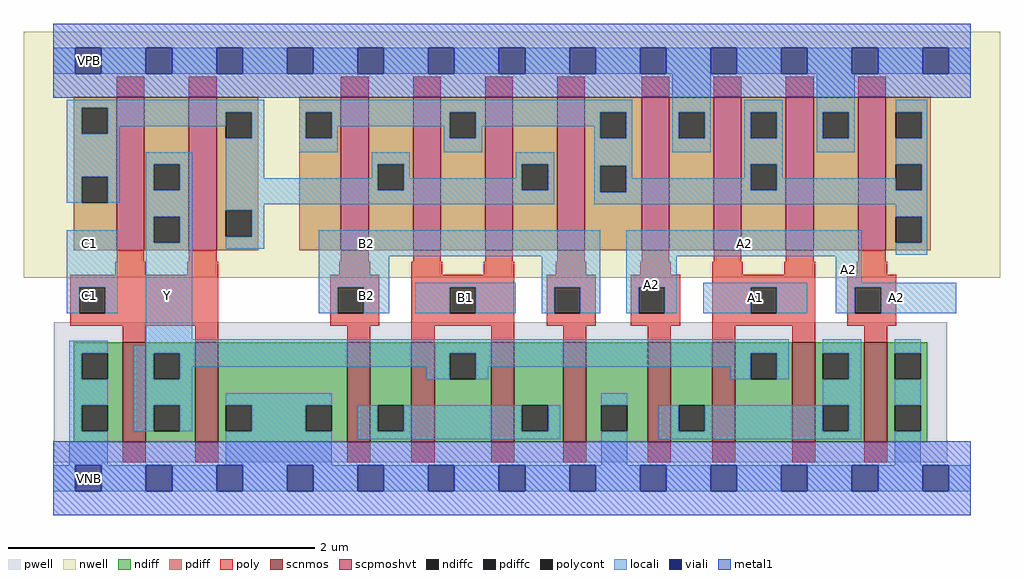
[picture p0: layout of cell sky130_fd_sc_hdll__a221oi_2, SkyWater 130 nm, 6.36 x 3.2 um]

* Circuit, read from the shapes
.subckt sky130_fd_sc_hdll__a221oi_2 A1 A2 B1 B2 C1 VGND VNB VPB VPWR Y
XM1 Y C1 VGND VNB sky130_fd_pr__nfet_01v8 w=0.65 l=0.15 m=2
XM2 n1 B2 VGND VNB sky130_fd_pr__nfet_01v8 w=0.65 l=0.15 m=2
XM3 Y B1 n1 VNB sky130_fd_pr__nfet_01v8 w=0.65 l=0.15 m=2
XM4 n2 A2 VGND VNB sky130_fd_pr__nfet_01v8 w=0.65 l=0.15 m=2
XM5 Y A1 n2 VNB sky130_fd_pr__nfet_01v8 w=0.65 l=0.15 m=2
XM6 Y C1 n3 VPB sky130_fd_pr__pfet_01v8_hvt w=1 l=0.18 m=2
XM7 n3 B2 n4 VPB sky130_fd_pr__pfet_01v8_hvt w=1 l=0.18 m=2
XM8 n4 B1 n3 VPB sky130_fd_pr__pfet_01v8_hvt w=1 l=0.18 m=2
XM9 VPWR A2 n4 VPB sky130_fd_pr__pfet_01v8_hvt w=1 l=0.18 m=2
XM10 n4 A1 VPWR VPB sky130_fd_pr__pfet_01v8_hvt w=1 l=0.18 m=2
.ends

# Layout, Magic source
magic
tech sky130A
magscale 1 2
<< nwell >>
rect -38 261 1234 582
<< pwell >>
rect 1 21 1165 203
rect 30 -17 64 21
<< scnmos >>
rect 91 47 121 177
rect 185 47 215 177
rect 383 47 413 177
rect 467 47 497 177
rect 571 47 601 177
rect 665 47 695 177
rect 775 47 805 177
rect 859 47 889 177
rect 963 47 993 177
rect 1057 47 1087 177
<< scpmoshvt >>
rect 83 297 119 497
rect 177 297 213 497
rect 375 297 411 497
rect 469 297 505 497
rect 563 297 599 497
rect 657 297 693 497
rect 767 297 803 497
rect 861 297 897 497
rect 955 297 991 497
rect 1049 297 1085 497
<< ndiff >>
rect 27 163 91 177
rect 27 129 37 163
rect 71 129 91 163
rect 27 95 91 129
rect 27 61 37 95
rect 71 61 91 95
rect 27 47 91 61
rect 121 163 185 177
rect 121 129 131 163
rect 165 129 185 163
rect 121 95 185 129
rect 121 61 131 95
rect 165 61 185 95
rect 121 47 185 61
rect 215 95 383 177
rect 215 61 225 95
rect 259 61 329 95
rect 363 61 383 95
rect 215 47 383 61
rect 413 95 467 177
rect 413 61 423 95
rect 457 61 467 95
rect 413 47 467 61
rect 497 163 571 177
rect 497 129 517 163
rect 551 129 571 163
rect 497 47 571 129
rect 601 95 665 177
rect 601 61 611 95
rect 645 61 665 95
rect 601 47 665 61
rect 695 95 775 177
rect 695 61 714 95
rect 748 61 775 95
rect 695 47 775 61
rect 805 95 859 177
rect 805 61 815 95
rect 849 61 859 95
rect 805 47 859 61
rect 889 163 963 177
rect 889 129 909 163
rect 943 129 963 163
rect 889 47 963 129
rect 993 163 1057 177
rect 993 129 1003 163
rect 1037 129 1057 163
rect 993 95 1057 129
rect 993 61 1003 95
rect 1037 61 1057 95
rect 993 47 1057 61
rect 1087 163 1139 177
rect 1087 129 1097 163
rect 1131 129 1139 163
rect 1087 95 1139 129
rect 1087 61 1097 95
rect 1131 61 1139 95
rect 1087 47 1139 61
<< pdiff >>
rect 27 483 83 497
rect 27 449 37 483
rect 71 449 83 483
rect 27 393 83 449
rect 27 359 37 393
rect 71 359 83 393
rect 27 297 83 359
rect 119 409 177 497
rect 119 375 131 409
rect 165 375 177 409
rect 119 341 177 375
rect 119 307 131 341
rect 165 307 177 341
rect 119 297 177 307
rect 213 477 267 497
rect 213 443 225 477
rect 259 443 267 477
rect 213 349 267 443
rect 213 315 225 349
rect 259 315 267 349
rect 213 297 267 315
rect 321 477 375 497
rect 321 443 329 477
rect 363 443 375 477
rect 321 297 375 443
rect 411 409 469 497
rect 411 375 423 409
rect 457 375 469 409
rect 411 297 469 375
rect 505 477 563 497
rect 505 443 517 477
rect 551 443 563 477
rect 505 297 563 443
rect 599 409 657 497
rect 599 375 611 409
rect 645 375 657 409
rect 599 297 657 375
rect 693 477 767 497
rect 693 443 713 477
rect 747 443 767 477
rect 693 407 767 443
rect 693 373 713 407
rect 747 373 767 407
rect 693 297 767 373
rect 803 477 861 497
rect 803 443 815 477
rect 849 443 861 477
rect 803 297 861 443
rect 897 477 955 497
rect 897 443 909 477
rect 943 443 955 477
rect 897 409 955 443
rect 897 375 909 409
rect 943 375 955 409
rect 897 297 955 375
rect 991 477 1049 497
rect 991 443 1003 477
rect 1037 443 1049 477
rect 991 297 1049 443
rect 1085 477 1144 497
rect 1085 443 1098 477
rect 1132 443 1144 477
rect 1085 409 1144 443
rect 1085 375 1098 409
rect 1132 375 1144 409
rect 1085 341 1144 375
rect 1085 307 1098 341
rect 1132 307 1144 341
rect 1085 297 1144 307
<< ndiffc >>
rect 37 129 71 163
rect 37 61 71 95
rect 131 129 165 163
rect 131 61 165 95
rect 225 61 259 95
rect 329 61 363 95
rect 423 61 457 95
rect 517 129 551 163
rect 611 61 645 95
rect 714 61 748 95
rect 815 61 849 95
rect 909 129 943 163
rect 1003 129 1037 163
rect 1003 61 1037 95
rect 1097 129 1131 163
rect 1097 61 1131 95
<< pdiffc >>
rect 37 449 71 483
rect 37 359 71 393
rect 131 375 165 409
rect 131 307 165 341
rect 225 443 259 477
rect 225 315 259 349
rect 329 443 363 477
rect 423 375 457 409
rect 517 443 551 477
rect 611 375 645 409
rect 713 443 747 477
rect 713 373 747 407
rect 815 443 849 477
rect 909 443 943 477
rect 909 375 943 409
rect 1003 443 1037 477
rect 1098 443 1132 477
rect 1098 375 1132 409
rect 1098 307 1132 341
<< poly >>
rect 83 497 119 523
rect 177 497 213 523
rect 375 497 411 523
rect 469 497 505 523
rect 563 497 599 523
rect 657 497 693 523
rect 767 497 803 523
rect 861 497 897 523
rect 955 497 991 523
rect 1049 497 1085 523
rect 83 282 119 297
rect 177 282 213 297
rect 375 282 411 297
rect 469 282 505 297
rect 563 282 599 297
rect 657 282 693 297
rect 767 282 803 297
rect 861 282 897 297
rect 955 282 991 297
rect 1049 282 1085 297
rect 81 265 121 282
rect 175 265 215 282
rect 373 265 413 282
rect 467 265 507 282
rect 561 265 601 282
rect 655 265 695 282
rect 765 265 805 282
rect 859 265 899 282
rect 953 265 993 282
rect 1047 265 1087 282
rect 22 249 215 265
rect 22 215 34 249
rect 68 215 215 249
rect 22 199 215 215
rect 361 249 425 265
rect 361 215 371 249
rect 405 215 425 249
rect 361 199 425 215
rect 467 249 601 265
rect 467 215 517 249
rect 551 215 601 249
rect 467 199 601 215
rect 643 249 707 265
rect 643 215 653 249
rect 687 215 707 249
rect 643 199 707 215
rect 753 249 817 265
rect 753 215 763 249
rect 797 215 817 249
rect 753 199 817 215
rect 859 249 993 265
rect 859 215 909 249
rect 943 215 993 249
rect 859 199 993 215
rect 1035 249 1099 265
rect 1035 215 1045 249
rect 1079 215 1099 249
rect 1035 199 1099 215
rect 91 177 121 199
rect 185 177 215 199
rect 383 177 413 199
rect 467 177 497 199
rect 571 177 601 199
rect 665 177 695 199
rect 775 177 805 199
rect 859 177 889 199
rect 963 177 993 199
rect 1057 177 1087 199
rect 91 21 121 47
rect 185 21 215 47
rect 383 21 413 47
rect 467 21 497 47
rect 571 21 601 47
rect 665 21 695 47
rect 775 21 805 47
rect 859 21 889 47
rect 963 21 993 47
rect 1057 21 1087 47
<< polycont >>
rect 34 215 68 249
rect 371 215 405 249
rect 517 215 551 249
rect 653 215 687 249
rect 763 215 797 249
rect 909 215 943 249
rect 1045 215 1079 249
<< locali >>
rect 0 527 29 561
rect 63 527 121 561
rect 155 527 213 561
rect 247 527 305 561
rect 339 527 397 561
rect 431 527 489 561
rect 523 527 581 561
rect 615 527 673 561
rect 707 527 765 561
rect 799 527 857 561
rect 891 527 949 561
rect 983 527 1041 561
rect 1075 527 1133 561
rect 1167 527 1196 561
rect 18 483 275 493
rect 18 449 37 483
rect 71 477 275 483
rect 71 459 225 477
rect 71 449 87 459
rect 18 393 87 449
rect 259 443 275 477
rect 18 359 37 393
rect 71 359 87 393
rect 121 409 181 425
rect 121 375 131 409
rect 165 375 181 409
rect 121 341 181 375
rect 18 249 84 323
rect 18 215 34 249
rect 68 215 84 249
rect 121 307 131 341
rect 165 307 181 341
rect 121 181 181 307
rect 225 391 275 443
rect 321 477 755 493
rect 321 443 329 477
rect 363 459 517 477
rect 363 443 371 459
rect 321 425 371 443
rect 509 443 517 459
rect 551 459 713 477
rect 551 443 559 459
rect 509 425 559 443
rect 705 443 713 459
rect 747 443 755 477
rect 415 409 465 425
rect 415 391 423 409
rect 225 375 423 391
rect 457 391 465 409
rect 603 409 653 425
rect 603 391 611 409
rect 457 375 611 391
rect 645 375 653 409
rect 225 357 653 375
rect 705 407 755 443
rect 807 477 857 527
rect 807 443 815 477
rect 849 443 857 477
rect 807 425 857 443
rect 901 477 951 493
rect 901 443 909 477
rect 943 443 951 477
rect 705 373 713 407
rect 747 391 755 407
rect 901 409 951 443
rect 995 477 1045 527
rect 995 443 1003 477
rect 1037 443 1045 477
rect 995 425 1045 443
rect 1098 477 1139 493
rect 1132 443 1139 477
rect 901 391 909 409
rect 747 375 909 391
rect 943 391 951 409
rect 1098 409 1139 443
rect 943 375 1098 391
rect 1132 375 1139 409
rect 747 373 1139 375
rect 705 357 1139 373
rect 225 349 275 357
rect 259 315 275 349
rect 1098 341 1139 357
rect 225 299 275 315
rect 346 289 713 323
rect 346 249 438 289
rect 346 215 371 249
rect 405 215 438 249
rect 472 249 603 255
rect 472 215 517 249
rect 551 215 603 249
rect 637 249 713 289
rect 637 215 653 249
rect 687 215 713 249
rect 747 289 1054 323
rect 1132 307 1139 341
rect 1098 291 1139 307
rect 747 249 813 289
rect 1020 255 1054 289
rect 747 215 763 249
rect 797 215 813 249
rect 847 249 983 255
rect 847 215 909 249
rect 943 215 983 249
rect 1020 249 1177 255
rect 1020 215 1045 249
rect 1079 215 1177 249
rect 21 163 71 179
rect 121 173 959 181
rect 21 129 37 163
rect 21 95 71 129
rect 21 61 37 95
rect 105 163 959 173
rect 105 129 131 163
rect 165 145 517 163
rect 165 129 181 145
rect 487 129 517 145
rect 551 145 909 163
rect 551 129 567 145
rect 883 129 909 145
rect 943 129 959 163
rect 1003 163 1053 181
rect 1037 129 1053 163
rect 105 95 181 129
rect 105 61 131 95
rect 165 61 181 95
rect 225 95 363 111
rect 714 95 748 111
rect 1003 95 1053 129
rect 259 61 329 95
rect 21 17 71 61
rect 225 17 363 61
rect 397 61 423 95
rect 457 61 611 95
rect 645 61 661 95
rect 397 51 661 61
rect 714 17 748 61
rect 789 61 815 95
rect 849 61 1003 95
rect 1037 61 1053 95
rect 789 51 1053 61
rect 1097 163 1131 181
rect 1097 95 1131 129
rect 1097 17 1131 61
rect 0 -17 29 17
rect 63 -17 121 17
rect 155 -17 213 17
rect 247 -17 305 17
rect 339 -17 397 17
rect 431 -17 489 17
rect 523 -17 581 17
rect 615 -17 673 17
rect 707 -17 765 17
rect 799 -17 857 17
rect 891 -17 949 17
rect 983 -17 1041 17
rect 1075 -17 1133 17
rect 1167 -17 1196 17
<< viali >>
rect 29 527 63 561
rect 121 527 155 561
rect 213 527 247 561
rect 305 527 339 561
rect 397 527 431 561
rect 489 527 523 561
rect 581 527 615 561
rect 673 527 707 561
rect 765 527 799 561
rect 857 527 891 561
rect 949 527 983 561
rect 1041 527 1075 561
rect 1133 527 1167 561
rect 29 -17 63 17
rect 121 -17 155 17
rect 213 -17 247 17
rect 305 -17 339 17
rect 397 -17 431 17
rect 489 -17 523 17
rect 581 -17 615 17
rect 673 -17 707 17
rect 765 -17 799 17
rect 857 -17 891 17
rect 949 -17 983 17
rect 1041 -17 1075 17
rect 1133 -17 1167 17
<< metal1 >>
rect 0 561 1196 592
rect 0 527 29 561
rect 63 527 121 561
rect 155 527 213 561
rect 247 527 305 561
rect 339 527 397 561
rect 431 527 489 561
rect 523 527 581 561
rect 615 527 673 561
rect 707 527 765 561
rect 799 527 857 561
rect 891 527 949 561
rect 983 527 1041 561
rect 1075 527 1133 561
rect 1167 527 1196 561
rect 0 496 1196 527
rect 0 17 1196 48
rect 0 -17 29 17
rect 63 -17 121 17
rect 155 -17 213 17
rect 247 -17 305 17
rect 339 -17 397 17
rect 431 -17 489 17
rect 523 -17 581 17
rect 615 -17 673 17
rect 707 -17 765 17
rect 799 -17 857 17
rect 891 -17 949 17
rect 983 -17 1041 17
rect 1075 -17 1133 17
rect 1167 -17 1196 17
rect 0 -48 1196 -17
<< labels >>
flabel locali s 391 289 425 323 0 FreeSans 400 0 0 0 B2
port 4 nsew signal input
flabel locali s 30 221 64 255 0 FreeSans 400 0 0 0 C1
port 5 nsew signal input
flabel locali s 1020 255 1054 289 0 FreeSans 400 180 0 0 A2
port 2 nsew signal input
flabel locali s 847 215 983 255 0 FreeSans 400 180 0 0 A1
port 1 nsew signal input
flabel locali s 472 215 603 255 0 FreeSans 400 0 0 0 B1
port 3 nsew signal input
flabel locali s 391 221 425 255 0 FreeSans 400 0 0 0 B2
port 4 nsew signal input
flabel locali s 132 221 166 255 0 FreeSans 400 0 0 0 Y
port 10 nsew signal output
flabel locali s 30 289 64 323 0 FreeSans 400 0 0 0 C1
port 5 nsew signal input
flabel pwell s 30 -17 64 17 0 FreeSans 200 0 0 0 VNB
port 7 nsew ground bidirectional
flabel nwell s 30 527 64 561 0 FreeSans 200 0 0 0 VPB
port 8 nsew power bidirectional
flabel metal1 s 30 -17 64 17 0 FreeSans 200 0 0 0 VGND
port 6 nsew ground bidirectional
flabel metal1 s 30 527 64 561 0 FreeSans 200 0 0 0 VPWR
port 9 nsew power bidirectional
rlabel comment s 0 0 0 0 4 a221oi_2
rlabel locali s 1020 215 1177 255 1 A2
port 2 nsew signal input
rlabel locali s 747 289 1054 323 1 A2
port 2 nsew signal input
rlabel locali s 747 215 813 289 1 A2
port 2 nsew signal input
<< properties >>
string LEFsite unithd
string LEFclass CORE
string FIXED_BBOX 0 0 1196 544
string GDS_FILE $PDKPATH/libs.ref/sky130_fd_sc_hdll/gds/sky130_fd_sc_hdll.gds
string LEFsymmetry X Y R90
string GDS_END 1672386
string GDS_START 1662732
string LEFproperties maskLayoutSubType "abstract" prCellType "standard" originalViewName "layout"
<< end >>
